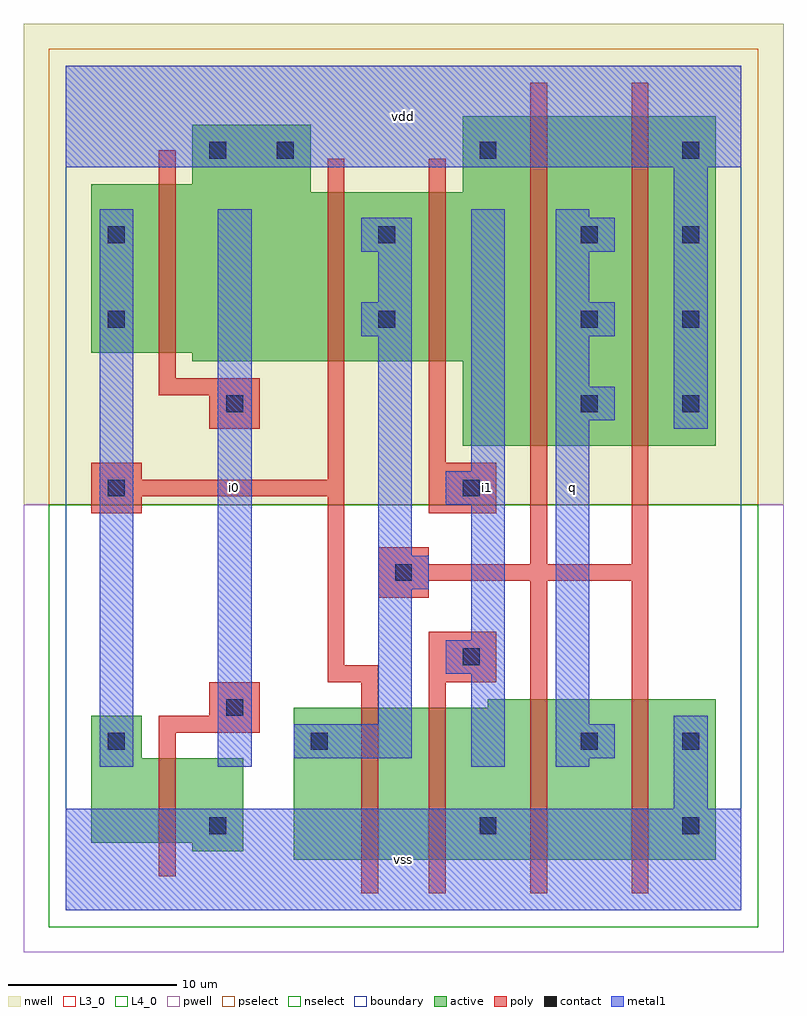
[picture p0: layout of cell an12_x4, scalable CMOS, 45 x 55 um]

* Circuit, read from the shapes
.subckt an12_x4 i0 i1 q vdd vss
M1 vss i0 n1 VSUBS nfet w=5u l=1u
M2 n2 n1 n3 VSUBS nfet w=9u l=1u
M3 vss i1 n2 VSUBS nfet w=9u l=1u
M4 q n3 vss VSUBS nfet w=9.5u l=1u m=2
M5 vdd i0 n1 n4 pfet w=10u l=1u
M6 n3 n1 vdd n4 pfet w=10u l=1u
M7 vdd i1 n3 n4 pfet w=10u l=1u
M8 q n3 vdd n4 pfet w=19.5u l=1u m=2
.ends

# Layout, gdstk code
import gdstk
lib = gdstk.Library(unit=1e-6, precision=1e-09)
def R(c, l, rs):  # rectangles x0, y0, x1, y1
    for r in rs: c.add(gdstk.rectangle(r[:2], r[2:], *l))
def A(c, l, x, y, w, h, nx, ny, dx, dy):  # array of equal rectangles
    R(c, l, [(x+i*dx, y+j*dy, x+i*dx+w, y+j*dy+h) for i in range(nx) for j in range(ny)])
L3_0 = (3, 0)
L4_0 = (4, 0)
contact = (25, 0)
pwell = (41, 0)
nwell = (42, 0)
active = (43, 0)
pselect = (44, 0)
nselect = (45, 0)
poly = (46, 0)
metal1 = (49, 0)
boundary = (63, 0)

an12_x4 = lib.new_cell('an12_x4')
R(an12_x4, L3_0, [(13.5,3,38.5,12), (7.5,3.5,10.5,4), (1.5,4,10.5,9), (1.5,9,4.5,11.5), (25,12,38.5,12.5)])
R(an12_x4, L4_0, [(23.5,27.5,38.5,32.5), (7.5,32.5,38.5,33), (1.5,33,38.5,42.5), (1.5,42.5,14.5,43), (23.5,42.5,38.5,47), (7.5,43,14.5,46.5)])
A(an12_x4, contact, 30.5, 29.5, 1, 1, 1, 3, 0, 5)
A(an12_x4, contact, 36.5, 29.5, 1, 1, 1, 3, 0, 5)
A(an12_x4, contact, 12.5, 44.5, 1, 1, 3, 1, 12, 0)
R(an12_x4, contact, [(8.5,4.5,9.5,5.5), (24.5,4.5,25.5,5.5), (36.5,4.5,37.5,5.5), (2.5,9.5,3.5,10.5), (14.5,9.5,15.5,10.5), (30.5,9.5,31.5,10.5), (36.5,9.5,37.5,10.5), (9.5,11.5,10.5,12.5), (23.5,14.5,24.5,15.5), (19.5,19.5,20.5,20.5), (2.5,24.5,3.5,25.5), (23.5,24.5,24.5,25.5), (9.5,29.5,10.5,30.5), (2.5,34.5,3.5,35.5), (18.5,34.5,19.5,35.5), (2.5,39.5,3.5,40.5), (18.5,39.5,19.5,40.5), (8.5,44.5,9.5,45.5)])
R(an12_x4, pwell, [(-2.5,-2.5,42.5,24)])
R(an12_x4, nwell, [(-2.5,24,42.5,52.5)])
R(an12_x4, active, [(13.5,3,38.5,12), (7.5,3.5,10.5,4), (1.5,4,10.5,9), (1.5,9,4.5,11.5), (25,12,38.5,12.5), (23.5,27.5,38.5,32.5), (7.5,32.5,38.5,33), (1.5,33,38.5,42.5), (1.5,42.5,14.5,43), (23.5,42.5,38.5,47), (7.5,43,14.5,46.5)])
R(an12_x4, pselect, [(-1,24,41,51)])
R(an12_x4, nselect, [(-1,-1,41,24)])
R(an12_x4, poly, [(17.5,1,18.5,13.5), (21.5,1,22.5,13.5), (27.5,1,28.5,19.5), (33.5,1,34.5,19.5), (5.5,2,6.5,10.5), (5.5,10.5,11.5,11.5), (8.5,11.5,11.5,13.5), (15.5,13.5,18.5,14.5), (21.5,13.5,25.5,16.5), (15.5,14.5,16.5,24.5), (18.5,18.5,21.5,19.5), (18.5,19.5,34.5,20.5), (18.5,20.5,21.5,21.5), (27.5,20.5,28.5,49), (33.5,20.5,34.5,49), (1.5,23.5,4.5,24.5), (21.5,23.5,25.5,26.5), (1.5,24.5,16.5,25.5), (1.5,25.5,4.5,26.5), (15.5,25.5,16.5,44.5), (21.5,26.5,22.5,44.5), (8.5,28.5,11.5,30.5), (5.5,30.5,11.5,31.5), (5.5,31.5,6.5,45)])
R(an12_x4, metal1, [(0,0,40,6), (0,0,40,6), (36,6,38,11.5), (36,6,38,11.5), (2,8.5,4,41.5), (2,8.5,4,41.5), (9,8.5,11,41.5), (9,8.5,11,41.5), (24,8.5,26,14), (24,8.5,26,14), (29,8.5,31,9), (29,8.5,31,9), (13.5,9,20.5,11), (13.5,9,20.5,11), (29,9,32.5,11), (29,9,32.5,11), (18.5,11,20.5,19), (18.5,11,20.5,19), (29,11,31,29), (29,11,31,29), (22.5,14,26,16), (22.5,14,26,16), (24,16,26,24), (24,16,26,24), (18.5,19,21.5,21), (18.5,19,21.5,21), (18.5,21,20.5,34), (18.5,21,20.5,34), (22.5,24,26,26), (22.5,24,26,26), (24,26,26,41.5), (24,26,26,41.5), (36,28.5,38,44), (36,28.5,38,44), (29,29,32.5,31), (29,29,32.5,31), (29,31,31,34), (29,31,31,34), (17.5,34,20.5,36), (17.5,34,20.5,36), (29,34,32.5,36), (29,34,32.5,36), (18.5,36,20.5,39), (18.5,36,20.5,39), (29,36,31,39), (29,36,31,39), (17.5,39,20.5,41), (17.5,39,20.5,41), (29,39,32.5,41), (29,39,32.5,41), (29,41,31,41.5), (29,41,31,41.5), (0,44,40,50), (0,44,40,50)])
R(an12_x4, boundary, [(0,0,40,50)])
an12_x4.add(gdstk.Label('i0', (10,25), layer=49, texttype=0))
an12_x4.add(gdstk.Label('vss', (20,3), layer=49, texttype=0))
an12_x4.add(gdstk.Label('i1', (25,25), layer=49, texttype=0))
an12_x4.add(gdstk.Label('vdd', (20,47), layer=49, texttype=0))
an12_x4.add(gdstk.Label('q', (30,25), layer=49, texttype=0))

lib.write_gds('an12_x4.gds')
